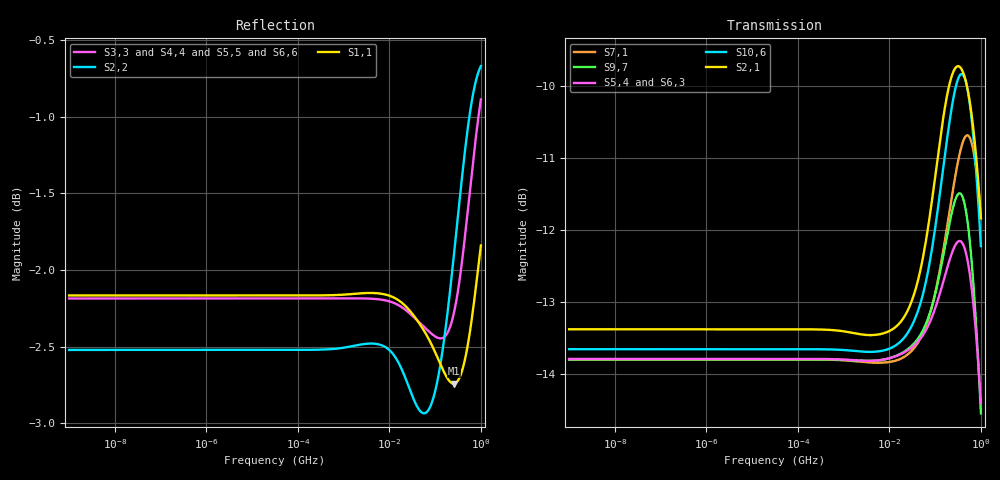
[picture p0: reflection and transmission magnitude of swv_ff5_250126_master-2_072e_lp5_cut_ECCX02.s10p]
! Touchstone file exported from Ansys Full-Wave Spice
! Project: 0000_PSI_S-parameter_Sweep
!  Design: unknown
! Creation time: Fri Apr 18 11:24:56 2025
! Notes: ! Touchstone(R) file created by SIwave 2025 R1
!  : ! Touchstone(R) file created on Fri Apr 18 11:24:56 2025
# HZ S RI R 0.1
! Modal data exported
! Port[1] = PORT_1_DIE1_VDDCR_ECCX02_Group_DIE1_GRP_1_0_VSS
! Port[2] = PORT_2_BGA1_VDDCR_ECCX02_Group_BGA1_GRP_1_1_VSS
! Port[3] = VDDCR_ECCX02_C16_1
! Port[4] = VDDCR_ECCX02_C17_1
! Port[5] = VDDCR_ECCX02_C23_1
! Port[6] = VDDCR_ECCX02_C24_1
! Port[7] = VDDCR_ECCX02_C62_1
! Port[8] = VDDCR_ECCX02_C98_1
! Port[9] = VDDCR_ECCX02_C99_1
! Port[10] = VDDCR_ECCX02_C109_1
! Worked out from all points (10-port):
!   420 points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, 1 Hz to 1 GHz, reference 0.1 ohm
!   strongest paths, dB at 1 Hz, 3.687 kHz, 11.66 MHz, 482.9 MHz, 1 GHz:
!     S2,1: -13.4, -13.4, -13.4, -10.0, -11.8
!     S10,6: -13.7, -13.7, -13.6, -10.0, -12.2
!     S5,4: -13.8, -13.8, -13.8, -12.3, -14.4
!     S9,7: -13.8, -13.8, -13.8, -11.8, -14.6
!     S7,1: -13.8, -13.8, -13.8, -10.7, -11.8
!     S6,3: -13.8, -13.8, -13.8, -12.2, -14.2
!   lowest |S11| = -2.7 dB at 254.1 MHz (marker M1), VSWR 6.39, Z = 0.0173 + j0.0319 ohm
!   |S11| at or under -10 dB: nowhere
